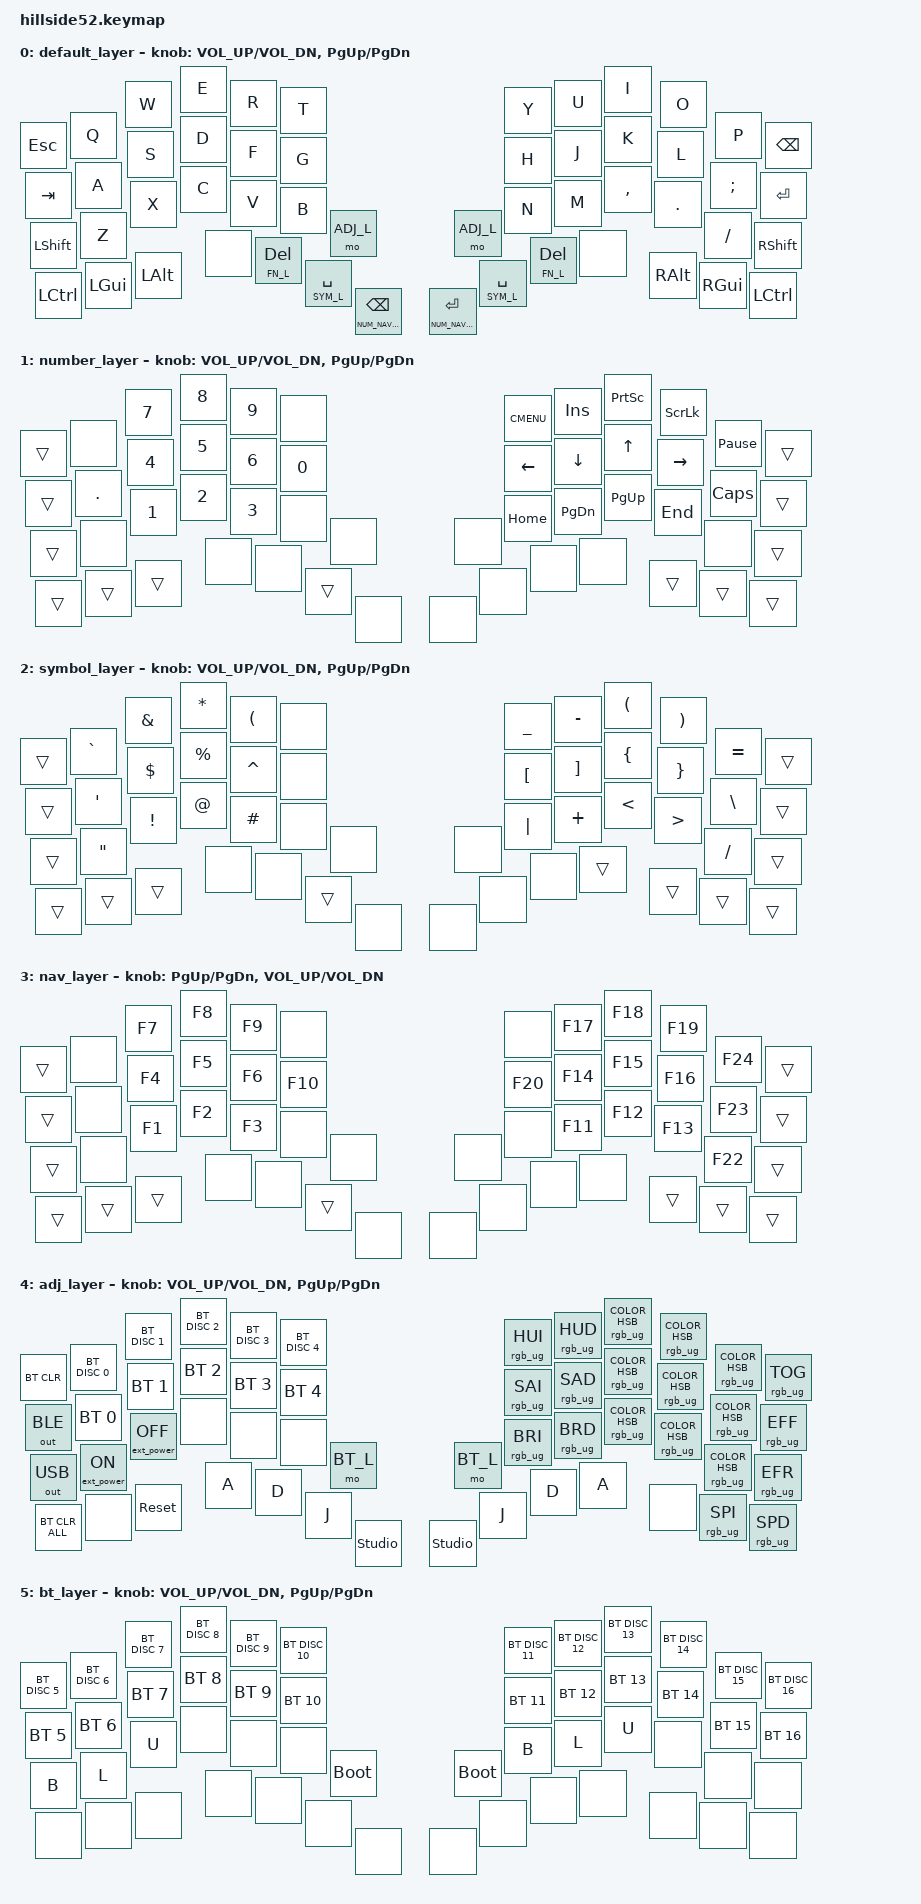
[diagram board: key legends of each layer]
/*
 * Copyright (c) 2021-2022 The ZMK Contributors
 *
 * SPDX-License-Identifier: MIT
 */

#include <behaviors.dtsi>
#include <dt-bindings/zmk/bt.h>
#include <dt-bindings/zmk/ext_power.h>
#include <dt-bindings/zmk/keys.h>
#include <dt-bindings/zmk/outputs.h>
#include <dt-bindings/zmk/backlight.h>
#include <dt-bindings/zmk/rgb.h>
#include <dt-bindings/led/led.h>

#define DEFAULT_L 0
#define NUM_NAV_L 1
#define SYM_L     2
#define FN_L      3
#define ADJ_L     4
#define BT_L      5

#define Undo   LC(Z)
#define Cut    LC(X)
#define Copy   LC(C)
#define Paste  LC(V)
#define Redo   LC(Y)
// Mute        &kp  C_MUTE   
// `            &kp  GRAVE

/* Empty secondary layer

/* Symbols
 * -------------------------------------------------------------------------------------------------------------------------------------
 * |       |       |       |       |       |       |-----------------------------------|       |       |       |       |       |       |
 * |       |       |       |       |       |       |-----------------------------------|       |       |       |       |       |       |
 * |       |       |       |       |       |       |       |-------------------|   /   |       |       |       |       |       |       |
 * |       |       |       |-------|       |       |       |       |---|       |       |       |       |-------|       |       |       |

                        bindings = <
&trans        &none         &none         &none         &none         &none                                                                          &none         &none         &none         &none         &none         &trans
&trans        &none         &none         &none         &none         &none                                                                          &none         &none         &none         &none         &none         &trans
&trans        &none         &none         &none         &none         &none         &none                                              &none         &none         &none         &none         &none         &none         &trans
&trans        &trans        &trans                      &none         &none         &trans         &none                 &none         &none         &none         &none                       &trans        &trans        &trans
                        >;

*/

/ {
        keymap {
                compatible = "zmk,keymap";

                default_layer {

/* DEFAULT
 * -------------------------------------------------------------------------------------------------------------------------------------
 * | ESC   |   Q   |   W   |   E   |   R   |   T   |-----------------------------------|   Y   |   U   |   I   |   O   |   P   | BKSPC |
 * | TAB   |   A   |   S   |   D   |   F   |   G   |-----------------------------------|   H   |   J   |   K   |   L   |   ;   | ENTER |
 * | SHIFT |   Z   |   X   |   C   |   V   |   B   |  ???  |-------------------|  ???  |   N   |   M   |   ,   |   .   |   /   | SHIFT |
 * | CTRL  |  GUI  |  ALT  |-------|ADJUST |  ???  | SPACE |NUM_NAV|---|SYMBOL |FUNCTON|DELETE |ADJUST |-------|  ALT  |  GUI  | CTRL  |
 */
                        bindings = <
&kp  ESC      &kp  Q        &kp  W        &kp  E        &kp  R        &kp  T                                                                                             &kp  Y              &kp  U        &kp  I        &kp  O        &kp  P        &kp  BSPC
&kp  TAB      &kp  A        &kp  S        &kp  D        &kp  F        &kp  G                                                                                             &kp  H              &kp  J        &kp  K        &kp  L        &kp  SEMI     &kp  ENTER
&kp  LSHFT    &kp  Z        &kp  X        &kp  C        &kp  V        &kp  B        &mo ADJ_L                                                        &mo ADJ_L           &kp  N              &kp  M        &kp  COMMA    &kp  DOT      &kp  SLASH    &kp  RSHFT
&kp  LCTRL    &kp LGUI      &kp LALT                    &none         &lt FN_L DEL  &lt SYM_L SPACE  &lt NUM_NAV_L BSPC         &lt NUM_NAV_L ENTER  &lt SYM_L SPACE     &lt FN_L DEL        &none                       &kp  RALT     &kp  RGUI     &kp  LCTRL
                        >;
	
                        sensor-bindings = <&inc_dec_kp C_VOL_UP C_VOL_DN &inc_dec_kp PG_UP PG_DN>;
                };
		
                number_layer {
/* Numbers & Navigation
 * -------------------------------------------------------------------------------------------------------------------------------------
 * | trans |       |   7   |   8   |   9   |       |-----------------------------------|K_CMENU|INSERT | PSCRN | SLCK  | PAUSE | trans |
 * | trans |   .   |   4   |   5   |   6   |   0   |-----------------------------------| Left  | Down  |  Up   | Right | CAPS  | trans |
 * | trans |       |   1   |   2   |   3   |       |  ???  |-------------------|  ???  | HOME  | PG DN | PG UP |  END  |       | trans |
 * | trans | trans | trans |-------|       |       | trans |  ???  |---|  ???  |  ???  |  ???  |  ???  |-------| trans | trans | trans |
 */
                        bindings = <
&trans        &none         &kp  N7       &kp  N8       &kp  N9       &none                                                                          &kp K_CMENU   &kp INSERT    &kp PSCRN     &kp SLCK      &kp PAUSE_BREAK &trans
&trans        &kp DOT       &kp  N4       &kp  N5       &kp  N6       &kp  N0                                                                        &kp LEFT      &kp DOWN      &kp UP        &kp RIGHT     &kp CAPS      &trans
&trans        &none         &kp  N1       &kp  N2       &kp  N3       &none         &none                                              &none         &kp HOME      &kp PG_DN     &kp PG_UP     &kp END       &none         &trans
&trans        &trans        &trans                      &none         &none         &trans         &none                 &none         &none         &none         &none                       &trans        &trans        &trans
                        >;
	
                        sensor-bindings = <&inc_dec_kp C_VOL_UP C_VOL_DN &inc_dec_kp PG_UP PG_DN>;
                };
		
                symbol_layer {
/* Symbols
 * -------------------------------------------------------------------------------------------------------------------------------------
 * | trans |   `   |   &   |   *   |   (   |       |-----------------------------------|   _   |   -   |   (   |   )   |   =   | trans |
 * | trans |   '   |   $   |   %   |   ^   |       |-----------------------------------|   [   |   ]   |   {   |   }   |   \   | trans |
 * | trans |   "   |   !   |   @   |   #   |       |       |-------------------|       |   |   |   +   |   <   |   >   |   /   | trans |
 * | trans | trans | trans |-------|       |       | trans |       |---|       |       |       |       |-------| trans | trans | trans |
 */
                        bindings = <
&trans         &kp GRAVE    &kp AMPS      &kp ASTRK     &kp LPAR      &none                                                                         &kp UNDER     &kp MINUS     &kp LPAR      &kp RPAR      &kp EQUAL     &trans
&trans         &kp SQT      &kp DLLR      &kp PRCNT     &kp CARET     &none                                                                         &kp LBKT      &kp RBKT      &kp LBRC      &kp RBRC      &kp BSLH      &trans
&trans         &kp DQT      &kp EXCL      &kp AT        &kp HASH      &none        &none                                             &none          &kp PIPE      &kp PLUS      &kp LT        &kp GT        &kp FSLH      &trans
&trans         &trans       &trans                      &none         &none        &trans         &none                 &none        &none          &none         &trans                      &trans        &trans        &trans
                        >;
	
                        sensor-bindings = <&inc_dec_kp C_VOL_UP C_VOL_DN &inc_dec_kp PG_UP PG_DN>;
                };

                nav_layer {
/* Functions
 * -------------------------------------------------------------------------------------------------------------------------------------
 * | trans |       |  F7   |  F8   |  F9   |       |-----------------------------------|       |  F17  |  F18  |  F19  |  F24  | trans |
 * | trans |       |  F4   |  F5   |  F6   |  F10  |-----------------------------------|  F20  |  F14  |  F15  |  F16  |  F23  | trans |
 * | trans |       |  F1   |  F2   |  F3   |       |  ???  |-------------------|  ???  |       |  F11  |  F12  |  F13  |  F22  | trans |
 * | trans | trans | trans |-------|       |       | trans |  ???  |---|  ???  |  ???  |  ???  |  ???  |-------| trans | trans | trans |
 */
                        bindings = <
&trans        &none         &kp F7        &kp F8        &kp F9        &none                                                                          &none         &kp F17       &kp F18       &kp F19       &kp F24       &trans
&trans        &none         &kp F4        &kp F5        &kp F6        &kp F10                                                                        &kp F20       &kp F14       &kp F15       &kp F16       &kp F23       &trans
&trans        &none         &kp F1        &kp F2        &kp F3        &none         &none                                              &none         &none         &kp F11       &kp F12       &kp F13       &kp F22       &trans
&trans        &trans        &trans                      &none         &none         &trans         &none                 &none         &none         &none         &none                       &trans        &trans        &trans
                        >;
	
                        sensor-bindings = <&inc_dec_kp PG_UP PG_DN &inc_dec_kp C_VOL_UP C_VOL_DN>;
                };



                adj_layer {
/* ADJUST
 * -------------------------------------------------------------------------------------------------------------------------------------
 * |BT_CLR |DKNKT 0|DKNKT 1|DKNKT 2|DKNKT 3|DKNKT 4|-----------------------------------|RGB_HUI|RGB_HUD|  Red  |Orange |Yellow |RGB_TOG|
 * |OUT_BLE| BT 0  | BT 1  | BT 2  | BT 3  | BT 4  |-----------------------------------|RGB_SAI|RGB_SAD| Green | Cyan  | Blue  |RGB_EFF|
 * |OUT_USB| EP_ON |EP_OFF |BL_TOG |BL_INC |BL_DEC | BOOTL |-------------------| BOOTL |RGB_BRI|RGB_BRD|Purple | Pink  | Teal  |RGB_EFR|
 * |BT_CLRA|-------| RESET |-------|       |       |       |       |---|       |       |       |       |-------|-------|RGB_SPI|RGB_SPD|
 */
                        bindings = <
&bt BT_CLR       &bt BT_DISC 0     &bt BT_DISC 1      &bt BT_DISC 2   &bt BT_DISC 3   &bt BT_DISC 4                                                                       &rgb_ug RGB_HUI &rgb_ug RGB_HUD &rgb_ug RGB_COLOR_HSB(0,100,100)    &rgb_ug RGB_COLOR_HSB(30,100,100)   &rgb_ug RGB_COLOR_HSB(60,100,100)    &rgb_ug RGB_TOG
&out OUT_BLE     &bt BT_SEL 0      &bt BT_SEL 1       &bt BT_SEL 2    &bt BT_SEL 3    &bt BT_SEL 4                                                                        &rgb_ug RGB_SAI &rgb_ug RGB_SAD &rgb_ug RGB_COLOR_HSB(120,100,100)  &rgb_ug RGB_COLOR_HSB(180,100,100)  &rgb_ug RGB_COLOR_HSB(240,100,100)   &rgb_ug RGB_EFF
&out OUT_USB     &ext_power EP_ON  &ext_power EP_OFF  &none           &none           &none          &mo BT_L                                             &mo BT_L        &rgb_ug RGB_BRI &rgb_ug RGB_BRD &rgb_ug RGB_COLOR_HSB(275,100,100)  &rgb_ug RGB_COLOR_HSB(300,100,100)  &rgb_ug RGB_COLOR_HSB(200,100,100)   &rgb_ug RGB_EFR
&bt BT_CLR_ALL   &none             &sys_reset                         &kp A           &kp D          &kp J          &studio_unlock         &studio_unlock &kp J           &kp D           &kp A                                               &none                               &rgb_ug RGB_SPI                      &rgb_ug RGB_SPD
                        >;

                        sensor-bindings = <&inc_dec_kp C_VOL_UP C_VOL_DN &inc_dec_kp PG_UP PG_DN>;
                };


                bt_layer {
/* BLUETOOTH
 * -------------------------------------------------------------------------------------------------------------------------------------
 * |DKNKT 3|DKNKT 6|DKNKT 7|DKNKT 8|DKNKT 9|DKNKT10|-----------------------------------|DKNKT11|DKNKT12|DKNKT13|DKNKT14|DKNKT15|DKNKT16|
 * | BT 5  | BT 6  | BT 7  | BT 8  | BT 9  | BT 10 |-----------------------------------| BT 11 | BT 12 | BT 13 | BT 14 | BT 15 | BT 16 |
 * |       |       |       |       |       |       |       |-------------------|       |       |       |       |       |       |       |
 * |-------|       |-------|       |       |       |       |       |---|       |       |       |-------|       |-------|       |       |
 */
                        bindings = <
&bt BT_DISC 5      &bt BT_DISC 6       &bt BT_DISC 7    &bt BT_DISC 8    &bt BT_DISC 9    &bt BT_DISC 10                                                                        &bt BT_DISC 11     &bt BT_DISC 12      &bt BT_DISC 13   &bt BT_DISC 14   &bt BT_DISC 15   &bt BT_DISC 16
&bt BT_SEL 5       &bt BT_SEL 6        &bt BT_SEL 7     &bt BT_SEL 8     &bt BT_SEL 9     &bt BT_SEL 10                                                                         &bt BT_SEL 11      &bt BT_SEL 12       &bt BT_SEL 13    &bt BT_SEL 14    &bt BT_SEL 15    &bt BT_SEL 16
&kp B              &kp L               &kp U            &none            &none            &none             &bootloader                                         &bootloader     &kp B              &kp L               &kp U            &none            &none            &none
&none              &none               &none                             &none            &none             &none          &none                 &none          &none           &none              &none                                &none            &none            &none
                        >;

                        sensor-bindings = <&inc_dec_kp C_VOL_UP C_VOL_DN &inc_dec_kp PG_UP PG_DN>;
                };


        };

        chosen {
                zephyr,display = &nice_view;
        };
};

&pinctrl {
	spi0_default: spi0_default {
		group1 {
			psels = <NRF_PSEL(SPIM_SCK, 0, 17)>,
				<NRF_PSEL(SPIM_MOSI, 0, 20)>;
		};
	};

	spi0_sleep: spi0_sleep {
		group1 {
			psels = <NRF_PSEL(SPIM_SCK, 0, 17)>,
				<NRF_PSEL(SPIM_MOSI, 0, 20)>;
			low-power-enable;
		};
	};
};

// Nice View display configuration
&spi0 {
	compatible = "nordic,nrf-spim";
	status = "okay";
	pinctrl-0 = <&spi0_default>;
	pinctrl-1 = <&spi0_sleep>;
	pinctrl-names = "default", "sleep";
	cs-gpios = <&gpio0 6 GPIO_ACTIVE_LOW>;

	nice_view: nice_view@0 {
		compatible = "solomon,ssd1306";
		status = "okay";
		spi-max-frequency = <4000000>;
		reg = <0>;

		/* Configure the Nice!View */
		nice-view-spi = <&nice_view>;
		cs-gpios = <&gpio0 6 GPIO_ACTIVE_HIGH>;
		reset-gpios = <&gpio0 9 GPIO_ACTIVE_HIGH>;
		bl-gpios = <&gpio0 10 GPIO_ACTIVE_HIGH>;
	};
};

# Additional display settings
CONFIG_ZMK_DISPLAY_BLANK_ON_IDLE=n
CONFIG_ZMK_DISPLAY_WORK_QUEUE_DEDICATED=y
CONFIG_ZMK_DISPLAY_DEDICATED_THREAD_STACK_SIZE=2048

# More specific SSD1306 settings
CONFIG_SSD1306_REVERSE_MODE=y
